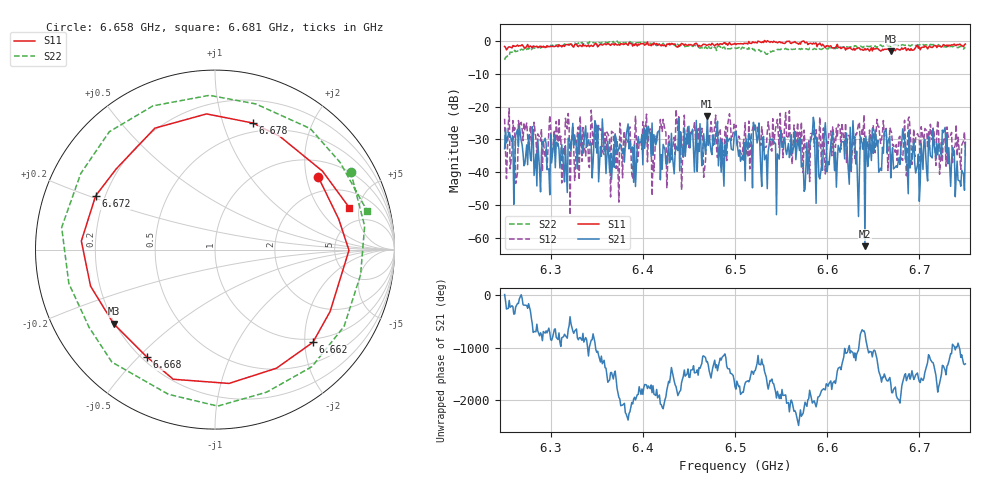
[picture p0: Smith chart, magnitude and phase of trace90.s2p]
# Hz S RI R 50
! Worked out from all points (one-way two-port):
!   401 points, 6.25 GHz to 6.75 GHz, reference 50 ohm
!   highest |S21| = -22.95 dB at 6.47 GHz (marker M1); lowest = -62.6 dB at 6.641 GHz (marker M2)
!   lowest |S11| = -3.1 dB at 6.669 GHz (marker M3), VSWR 5.66, Z = 9.74 - j15.7 ohm
!   |S11| at or under -10 dB: nowhere
!   |S22| runs from -5.8 to 0.0 dB; largest |S21 - S12| = 0.13
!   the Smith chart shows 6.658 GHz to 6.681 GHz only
!   S11 on the Smith chart (normalised r, x): 6.658 GHz: 1.49, +2.36; 6.662 GHz: 0.92, -2.18; 6.668 GHz: 0.22, -0.53; 6.672 GHz: 0.16, +0.21; 6.678 GHz: 0.41, +1.26; 6.681 GHz: 3.28, +3.97
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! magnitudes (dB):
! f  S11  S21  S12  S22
! 6.25 GHz  -1.7  -32.9  -23.7  -5.8
! 6.334 GHz  -1.7  -32.6  -36.7  -0.4
! 6.401 GHz  -0.9  -26.7  -25.0  -0.3
! 6.412 GHz  -0.6  -28.6  -39.7  -0.7
! 6.418 GHz  -0.9  -27.3  -27.7  -1.2
! 6.47 GHz  -1.3  -23.0  -30.7  -2.3
! 6.5 GHz  -0.7  -27.7  -26.4  -2.1
! 6.576 GHz  -0.6  -45.2  -31.9  -2.4
! 6.584 GHz  -0.9  -28.0  -28.2  -2.6
! 6.59 GHz  -1.0  -32.6  -34.4  -2.5
! 6.628 GHz  -2.7  -24.3  -28.9  -2.0
! 6.641 GHz  -2.3  -62.6  -30.8  -1.8
! 6.658 GHz  -3.1  -38.8  -31.3  -1.2
! 6.662 GHz  -2.5  -27.7  -29.1  -1.4
! 6.668 GHz  -3.0  -29.0  -26.4  -1.4
! 6.669 GHz  -3.1  -41.8  -27.3  -1.7
! 6.672 GHz  -2.7  -39.0  -31.7  -1.3
! 6.678 GHz  -2.7  -35.6  -29.4  -1.5
! 6.681 GHz  -2.1  -30.8  -36.2  -1.2
! 6.699 GHz  -2.2  -34.5  -29.0  -1.2
! 6.728 GHz  -1.4  -26.3  -30.3  -1.7
! 6.75 GHz  -0.9  -30.9  -35.0  -2.0
